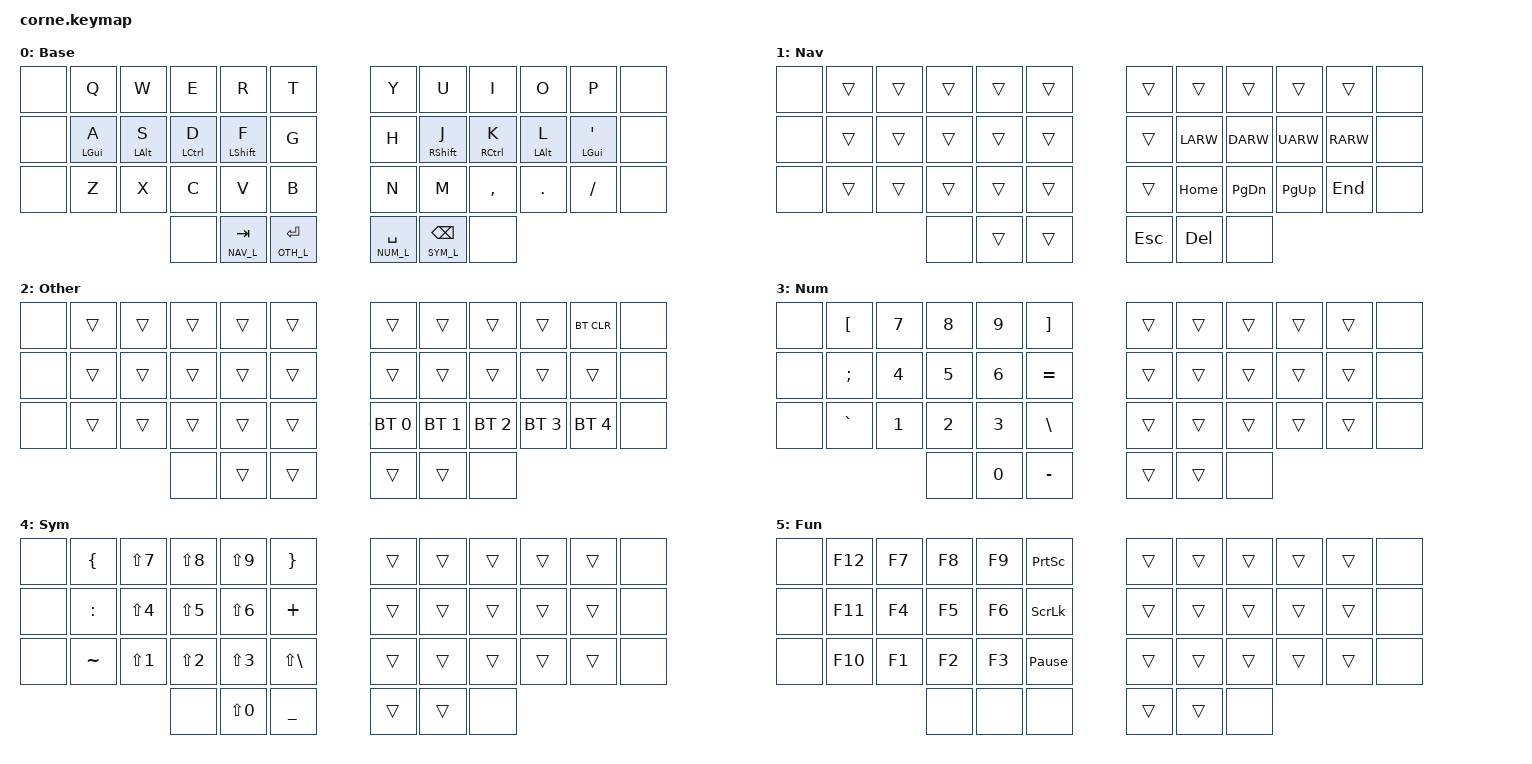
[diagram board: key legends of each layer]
/*
 * Copyright (c) 2021 Pete Johanson
 *
 * SPDX-License-Identifier: MIT
 */

#include <behaviors.dtsi>
#include <dt-bindings/zmk/keys.h>
#include <dt-bindings/zmk/bt.h>
#include <dt-bindings/zmk/outputs.h>

#define NAV_L 1
#define OTH_L 2
#define NUM_L 3
#define SYM_L 4
#define FUN_L 5

// Using layer taps on thumbs, having quick tap as well helps w/ repeating space/backspace
&lt { quick_tap_ms = <200>; };

/ {
    combos {
        compatible = "zmk,combos";

        fn_mo {
	    timeout-ms = <50>;
            key-positions = <32 33>;
            bindings = <&mo FUN_L>;
        };

	/*
        caps_word_combo {
	    timeout-ms = <50>;
            key-positions = <13 16>;
            bindings = <&caps_word>;
        };
	*/
    };

    behaviors {
        hm: homerow_mods {
            compatible = "zmk,behavior-hold-tap";
            label = "homerow mods";
            #binding-cells = <2>;
            tapping_term_ms = <200>;
            flavor = "tap-preferred";
            bindings = <&kp>, <&kp>;
        };
    };

    keymap {
        compatible = "zmk,keymap";

        default_layer {
            label = "Base";
            bindings = <
                &none   &kp Q      &kp W      &kp E       &kp R          &kp T         &kp Y            &kp U          &kp I       &kp O      &kp P     &none
                &none   &hm LGUI A &hm LALT S &hm LCTRL D &hm LSHFT F    &kp G         &kp H            &hm RSHFT J    &hm RCTRL K &hm LALT L &hm LGUI QUOT     &none
                &none   &kp Z      &kp X      &kp C       &kp V          &kp B         &kp N            &kp M          &kp COMMA   &kp DOT    &kp FSLH  &none
                                                &none &lt NAV_L TAB   &lt OTH_L RET    &lt NUM_L SPACE    &lt SYM_L BKSP    &none
            >;
        };

        nav_layer {
            label = "Nav";
            bindings = <
                &none   &trans     &trans     &trans      &trans          &trans       &trans           &trans         &trans      &trans     &trans    &none
                &none   &trans     &trans     &trans      &trans          &trans       &trans           &kp LARW       &kp DARW    &kp UARW   &kp RARW  &none
                &none   &trans     &trans     &trans      &trans          &trans       &trans           &kp HOME       &kp PG_DN   &kp PG_UP  &kp END   &none
                                              &none       &trans          &trans       &kp ESC          &kp DEL        &none
            >;
        };

        other_layer {
            label = "Other";
            bindings = <
                &none   &trans	   &trans     &trans      &trans          &trans       &trans           &trans         &trans       &trans       &bt BT_CLR     &none
                &none   &trans     &trans     &trans      &trans          &trans       &trans           &trans         &trans       &trans       &trans         &none
                &none   &trans     &trans     &trans      &trans          &trans       &bt BT_SEL 0     &bt BT_SEL 1   &bt BT_SEL 2 &bt BT_SEL 3 &bt BT_SEL 4   &none
                                              &none       &trans          &trans       &trans           &trans         &none
            >;
        };

        num_layer {
            label = "Num";
            bindings = <
                &none   &kp LBKT   &kp N7     &kp N8      &kp N9          &kp RBKT      &trans          &trans         &trans      &trans     &trans    &none
                &none   &kp SEMI   &kp N4     &kp N5      &kp N6          &kp EQUAL     &trans          &trans         &trans      &trans     &trans    &none
                &none   &kp GRAVE  &kp N1     &kp N2      &kp N3          &kp BSLH      &trans          &trans         &trans      &trans     &trans    &none
                                                &none     &kp N0          &kp MINUS     &trans          &trans         &none
            >;
        };

        sym_layer {
            label = "Sym";
            bindings = <
                &none   &kp LBRC     &kp LS(N7)  &kp LS(N8)  &kp LS(N9) &kp RBRC        &trans &trans   &trans    &trans    &trans      &none
                &none   &kp COLON    &kp LS(N4)  &kp LS(N5)  &kp LS(N6) &kp PLUS        &trans &trans   &trans    &trans    &trans      &none
                &none   &kp TILDE    &kp LS(N1)  &kp LS(N2)  &kp LS(N3) &kp LS(BSLH)    &trans &trans   &trans    &trans    &trans      &none
                                                 &none       &kp LS(N0) &kp UNDER         &trans &trans &none
            >;
        };

        fun_layer {
            label = "Fun";
            bindings = <
                &none   &kp F12     &kp F7     &kp F8      &kp F9     &kp PSCRN         &trans          &trans         &trans      &trans     &trans    &none
                &none   &kp F11     &kp F4     &kp F5      &kp F6     &kp SLCK          &trans          &trans         &trans      &trans     &trans    &none
                &none   &kp F10     &kp F1     &kp F2      &kp F3     &kp PAUSE_BREAK   &trans          &trans         &trans      &trans     &trans    &none
                                               &none       &none      &none             &trans          &trans         &none
            >;
        };
    };
};

